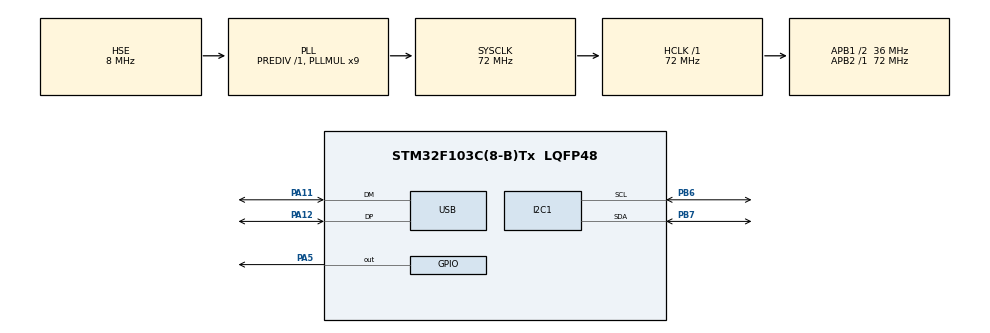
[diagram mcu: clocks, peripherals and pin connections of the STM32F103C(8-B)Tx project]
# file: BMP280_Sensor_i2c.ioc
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Mcu.Family=STM32F1
Mcu.Name=STM32F103C(8-B)Tx
Mcu.Package=LQFP48
NVIC.PriorityGroup=NVIC_PRIORITYGROUP_4
NVIC.USB_LP_CAN1_RX0_IRQn=true\:0\:0\:false\:false\:true\:false\:true\:true
PA11.Mode=Device
PA11.Signal=USB_DM
PA12.Mode=Device
PA12.Signal=USB_DP
PA13.Mode=Serial_Wire
PA13.Signal=SYS_JTMS-SWDIO
PA14.Mode=Serial_Wire
PA14.Signal=SYS_JTCK-SWCLK
PA5.Signal=GPIO_Output
PB6.Mode=I2C
PB6.Signal=I2C1_SCL
PB7.Mode=I2C
PB7.Signal=I2C1_SDA
PD0-OSC_IN.Mode=HSE-External-Oscillator
PD0-OSC_IN.Signal=RCC_OSC_IN
PD1-OSC_OUT.Mode=HSE-External-Oscillator
PD1-OSC_OUT.Signal=RCC_OSC_OUT
ProjectManager.HeapSize=0x200
ProjectManager.StackSize=0x400
ProjectManager.TargetToolchain=STM32CubeIDE
RCC.AHBFreq_Value=72000000
RCC.APB1CLKDivider=RCC_HCLK_DIV2
RCC.APB1Freq_Value=36000000
RCC.APB1TimFreq_Value=72000000
RCC.APB2Freq_Value=72000000
RCC.APB2TimFreq_Value=72000000
RCC.HCLKFreq_Value=72000000
RCC.PLLMUL=RCC_PLL_MUL9
RCC.PLLSourceVirtual=RCC_PLLSOURCE_HSE
RCC.SYSCLKFreq_VALUE=72000000
RCC.SYSCLKSource=RCC_SYSCLKSOURCE_PLLCLK
RCC.USBFreq_Value=48000000
RCC.USBPrescaler=RCC_USBCLKSOURCE_PLL_DIV1_5
USB_DEVICE.CLASS_NAME_FS=CDC
USB_DEVICE.VirtualMode=Cdc
USB_DEVICE.VirtualModeFS=Cdc_FS
VP_USB_DEVICE_VS_USB_DEVICE_CDC_FS.Mode=CDC_FS
board=custom

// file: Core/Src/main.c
/* USER CODE BEGIN Header */
/**
  ******************************************************************************
  * @file           : main.c
  * @brief          : Main program body
  ******************************************************************************
  * @attention
  *
  * Copyright (c) 2024 STMicroelectronics.
  * All rights reserved.
  *
  * This software is licensed under terms that can be found in the LICENSE file
  * in the root directory of this software component.
  * If no LICENSE file comes with this software, it is provided AS-IS.
  *
  ******************************************************************************
  */
/* USER CODE END Header */
#include "main.h"
#include "usb_device.h"

/* USER CODE BEGIN Includes */
#include "bmp280_i2c.h"
#include "usbd_cdc_if.h"

/* USER CODE END Includes */

I2C_HandleTypeDef hi2c1;

void SystemClock_Config(void);
static void MX_GPIO_Init(void);
static void MX_I2C1_Init(void);

/* USER CODE BEGIN 0 */

bmp280 bmp;
/* USER CODE END 0 */

int main(void)
{

  /* MCU Configuration--------------------------------------------------------*/

  /* Reset of all peripherals, Initializes the Flash interface and the Systick. */
  HAL_Init();

  /* Configure the system clock */
  SystemClock_Config();

  /* Initialize all configured peripherals */
  MX_GPIO_Init();
  MX_I2C1_Init();
  MX_USB_DEVICE_Init();
  /* USER CODE BEGIN 2 */

  bmp280_initilize(&bmp, &hi2c1);

  char charValue[10]; // Array to store the converted float (size adjusted for float with 2 decimal places)
  char p_charValue[10]; // Array to store the converted float (size adjusted for float with 2 decimal places)

  /* USER CODE END 2 */

  /* Infinite loop */
  /* USER CODE BEGIN WHILE */
  while (1)
  {

	  uint32_t c = BMP280_ReadRawTemperature(&bmp);
	  	float result = BMP280_CompensateTemperature((int32_t)c);

		  uint32_t p = BMP280_ReadRawPressure(&bmp);
		  	float p_result = BMP280_CompensatePressure((int32_t)p, &bmp);

	    sprintf(charValue, "%.2f\n", result);
		CDC_Transmit_FS(&charValue, strlen(charValue));

	    sprintf(p_charValue, "%.2f\n", p_result);
		CDC_Transmit_FS(&p_charValue, strlen(p_charValue));

        HAL_Delay(1000); // Delay 1 second

    /* USER CODE END WHILE */

  }
}

void SystemClock_Config(void)
{
  RCC_OscInitTypeDef RCC_OscInitStruct = {0};
  RCC_ClkInitTypeDef RCC_ClkInitStruct = {0};
  RCC_PeriphCLKInitTypeDef PeriphClkInit = {0};

  /** Initializes the RCC Oscillators according to the specified parameters
  * in the RCC_OscInitTypeDef structure.
  */
  RCC_OscInitStruct.OscillatorType = RCC_OSCILLATORTYPE_HSE;
  RCC_OscInitStruct.HSEState = RCC_HSE_ON;
  RCC_OscInitStruct.HSEPredivValue = RCC_HSE_PREDIV_DIV1;
  RCC_OscInitStruct.HSIState = RCC_HSI_ON;
  RCC_OscInitStruct.PLL.PLLState = RCC_PLL_ON;
  RCC_OscInitStruct.PLL.PLLSource = RCC_PLLSOURCE_HSE;
  RCC_OscInitStruct.PLL.PLLMUL = RCC_PLL_MUL9;
  if (HAL_RCC_OscConfig(&RCC_OscInitStruct) != HAL_OK)
  {
    Error_Handler();
  }

  /** Initializes the CPU, AHB and APB buses clocks
  */
  RCC_ClkInitStruct.ClockType = RCC_CLOCKTYPE_HCLK|RCC_CLOCKTYPE_SYSCLK
                              |RCC_CLOCKTYPE_PCLK1|RCC_CLOCKTYPE_PCLK2;
  RCC_ClkInitStruct.SYSCLKSource = RCC_SYSCLKSOURCE_PLLCLK;
  RCC_ClkInitStruct.AHBCLKDivider = RCC_SYSCLK_DIV1;
  RCC_ClkInitStruct.APB1CLKDivider = RCC_HCLK_DIV2;
  RCC_ClkInitStruct.APB2CLKDivider = RCC_HCLK_DIV1;

  if (HAL_RCC_ClockConfig(&RCC_ClkInitStruct, FLASH_LATENCY_2) != HAL_OK)
  {
    Error_Handler();
  }
  PeriphClkInit.PeriphClockSelection = RCC_PERIPHCLK_USB;
  PeriphClkInit.UsbClockSelection = RCC_USBCLKSOURCE_PLL_DIV1_5;
  if (HAL_RCCEx_PeriphCLKConfig(&PeriphClkInit) != HAL_OK)
  {
    Error_Handler();
  }
}

static void MX_I2C1_Init(void)
{

  hi2c1.Instance = I2C1;
  hi2c1.Init.ClockSpeed = 100000;
  hi2c1.Init.DutyCycle = I2C_DUTYCYCLE_2;
  hi2c1.Init.OwnAddress1 = 0;
  hi2c1.Init.AddressingMode = I2C_ADDRESSINGMODE_7BIT;
  hi2c1.Init.DualAddressMode = I2C_DUALADDRESS_DISABLE;
  hi2c1.Init.OwnAddress2 = 0;
  hi2c1.Init.GeneralCallMode = I2C_GENERALCALL_DISABLE;
  hi2c1.Init.NoStretchMode = I2C_NOSTRETCH_DISABLE;
  if (HAL_I2C_Init(&hi2c1) != HAL_OK)
  {
    Error_Handler();
  }

}

static void MX_GPIO_Init(void)
{
  GPIO_InitTypeDef GPIO_InitStruct = {0};

  /* GPIO Ports Clock Enable */
  __HAL_RCC_GPIOD_CLK_ENABLE();
  __HAL_RCC_GPIOA_CLK_ENABLE();
  __HAL_RCC_GPIOB_CLK_ENABLE();

  /*Configure GPIO pin Output Level */
  HAL_GPIO_WritePin(GPIOA, GPIO_PIN_5, GPIO_PIN_RESET);

  /*Configure GPIO pin : PA5 */
  GPIO_InitStruct.Pin = GPIO_PIN_5;
  GPIO_InitStruct.Mode = GPIO_MODE_OUTPUT_PP;
  GPIO_InitStruct.Pull = GPIO_NOPULL;
  GPIO_InitStruct.Speed = GPIO_SPEED_FREQ_LOW;
  HAL_GPIO_Init(GPIOA, &GPIO_InitStruct);

}

void Error_Handler(void)
{
  __disable_irq();
  while (1)
  {
  }
}
